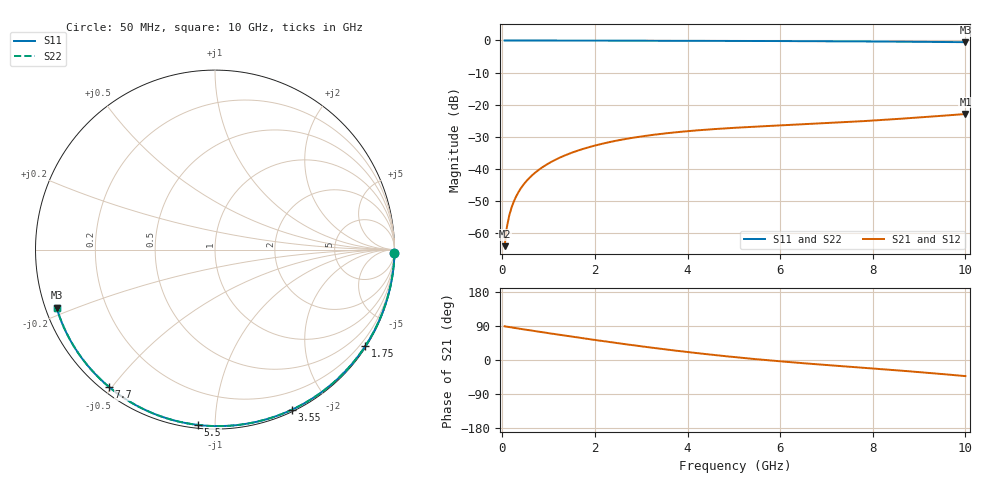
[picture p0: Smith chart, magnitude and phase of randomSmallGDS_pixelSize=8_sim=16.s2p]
! freq	dB(S11)	phase(S11)	dB(S12)	phase(S12)
!  dB(S21)	phase(S21)	dB(S22)	phase(S22)
!S-par simulation data
#  GHz  S  DB  R 50
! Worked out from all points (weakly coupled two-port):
!   200 points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, 50 MHz to 10 GHz, reference 50 ohm
!   highest |S21| = -22.88 dB at 10 GHz (marker M1); lowest = -64.0 dB at 50 MHz (marker M2)
!   lowest |S11| = -0.5 dB at 10 GHz (marker M3), VSWR 32.48, Z = 1.59 - j8.89 ohm
!   |S11| at or under -10 dB: nowhere
!   |S22| runs from -0.5 to 0.0 dB; largest |S21 - S12| = 0
!   S11 on the Smith chart (normalised r, x): 50 MHz: open; 1.75 GHz: 0.03, -3.40; 3.55 GHz: 0.02, -1.59; 5.5 GHz: 0.02, -0.91; 7.7 GHz: 0.02, -0.49; 10 GHz: 0.03, -0.18
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0.05  -0.00 -1.0  -63.98 89.0  -63.98 89.0  -0.00 -1.0
0.1  -0.00 -1.9  -57.96 87.9  -57.96 87.9  -0.00 -1.9
0.15  -0.00 -2.9  -54.45 86.9  -54.45 86.9  -0.00 -2.9
0.2  -0.00 -3.8  -51.96 85.9  -51.96 85.9  -0.00 -3.8
0.25  -0.00 -4.8  -50.04 84.9  -50.04 84.9  -0.00 -4.8
0.35  -0.01 -6.7  -47.14 82.9  -47.14 82.9  -0.01 -6.7
0.5  -0.01 -9.5  -44.09 80.1  -44.09 80.1  -0.01 -9.5
0.7  -0.02 -13.3  -41.23 76.4  -41.23 76.4  -0.02 -13.3
1  -0.02 -18.9  -38.23 70.8  -38.23 70.8  -0.02 -18.9
1.35  -0.03 -25.4  -35.76 64.5  -35.76 64.5  -0.03 -25.4
1.75  -0.04 -32.8  -33.70 57.3  -33.70 57.3  -0.04 -32.7
2.5  -0.06 -46.2  -31.07 44.3  -31.07 44.3  -0.06 -46.2
3.4  -0.09 -61.8  -29.10 29.9  -29.10 29.9  -0.09 -61.8
3.55  -0.09 -64.4  -28.85 27.6  -28.85 27.6  -0.09 -64.4
4.3  -0.11 -76.8  -27.86 16.9  -27.86 16.9  -0.11 -76.7
5.05  -0.14 -88.7  -27.14 7.2  -27.14 7.2  -0.14 -88.6
5.5  -0.16 -95.6  -26.78 2.0  -26.78 2.0  -0.16 -95.6
6.7  -0.23 -113.4  -25.94 -10.4  -25.94 -10.4  -0.23 -113.3
7.7  -0.30 -127.6  -25.17 -19.6  -25.17 -19.6  -0.30 -127.6
8.35  -0.35 -136.7  -24.59 -25.6  -24.59 -25.6  -0.35 -136.7
9.2  -0.44 -148.6  -23.74 -34.0  -23.74 -34.0  -0.44 -148.5
10  -0.53 -159.8  -22.88 -42.5  -22.88 -42.5  -0.53 -159.8
